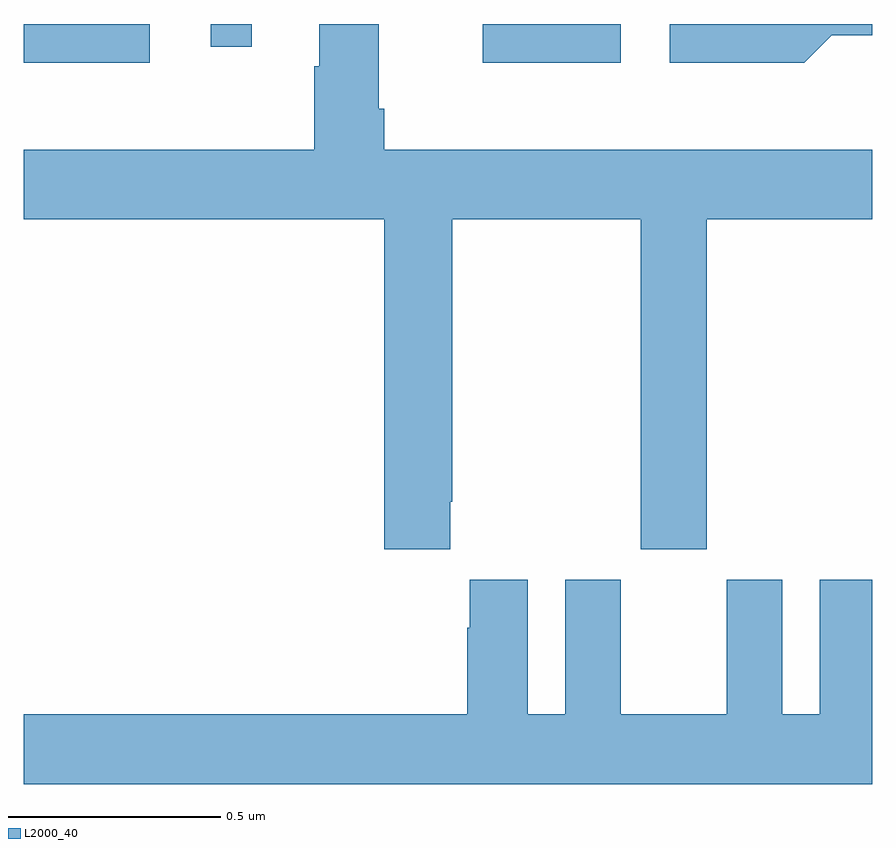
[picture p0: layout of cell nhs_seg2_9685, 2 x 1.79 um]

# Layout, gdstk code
import gdstk
lib = gdstk.Library(unit=1e-6, precision=1e-09)
def R(c, l, rs):  # rectangles x0, y0, x1, y1
    for r in rs: c.add(gdstk.rectangle(r[:2], r[2:], *l))
def P(c, l, *ps):  # polygons
    for p in ps: c.add(gdstk.Polygon(p, *l))
L2000_40 = (2000, 40)

nhs_seg2_9685 = lib.new_cell('nhs_seg2_9685')
R(nhs_seg2_9685, L2000_40, [(232,610.709,232.297,610.8), (233.082,610.709,233.407,610.8), (232.44,610.746,232.537,610.8)])
P(nhs_seg2_9685, L2000_40, [(233.005,609.673),(233.01,609.673),(233.01,610.34),(233.455,610.34),(233.455,609.561),(233.61,609.561),(233.61,610.34),(234,610.34),(234,610.504),(232.85,610.504),(232.85,610.6),(232.837,610.6),(232.837,610.8),(232.697,610.8),(232.697,610.7),(232.685,610.7),(232.685,610.504),(232,610.504),(232,610.34),(232.85,610.34),(232.85,609.561),(233.005,609.561)],
  [(233.905,610.774),(234,610.774),(234,610.8),(233.523,610.8),(233.523,610.709),(233.84,610.709)],
  [(234,609.49),(233.876,609.49),(233.876,609.172),(233.788,609.172),(233.788,609.49),(233.657,609.49),(233.657,609.172),(233.407,609.172),(233.407,609.49),(233.276,609.49),(233.276,609.172),(233.188,609.172),(233.188,609.49),(233.051,609.49),(233.051,609.377),(233.045,609.377),(233.045,609.172),(232,609.172),(232,609.008),(234,609.008)])

lib.write_gds('nhs_seg2_9685.gds')
